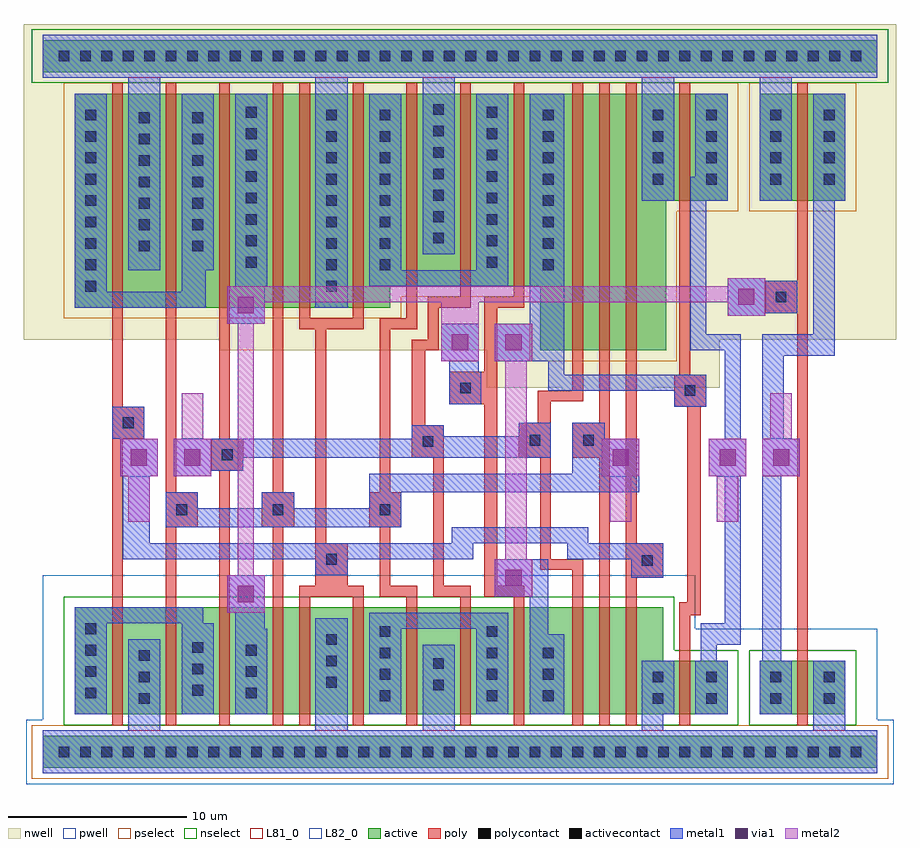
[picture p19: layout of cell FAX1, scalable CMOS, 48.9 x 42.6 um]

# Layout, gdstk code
import gdstk
lib = gdstk.Library(unit=1e-6, precision=1e-09)
def R(c, l, rs):  # rectangles x0, y0, x1, y1
    for r in rs: c.add(gdstk.rectangle(r[:2], r[2:], *l))
def A(c, l, x, y, w, h, nx, ny, dx, dy):  # array of equal rectangles
    R(c, l, [(x+i*dx, y+j*dy, x+i*dx+w, y+j*dy+h) for i in range(nx) for j in range(ny)])
pwell = (41, 0)
nwell = (42, 0)
active = (43, 0)
pselect = (44, 0)
nselect = (45, 0)
poly = (46, 0)
polycontact = (47, 0)
activecontact = (48, 0)
metal1 = (49, 0)
via1 = (50, 0)
metal2 = (51, 0)
L81_0 = (81, 0)
L82_0 = (82, 0)

fax1 = lib.new_cell('FAX1')
R(fax1, pwell, [(-1.8,-1.8,46.8,1.8), (-0.9,1.8,45.9,6.9), (-0.9,6.9,35.7,9.9)])
R(fax1, nwell, [(28.2,20.25,33.3,20.4), (24,20.4,37.05,22.5), (9,22.5,37.05,23.1), (-1.95,23.1,46.95,40.8)])
R(fax1, active, [(-0.9,-0.9,45.9,0.9), (0.9,2.1,37.5,5.1), (39.3,2.1,44.1,5.1), (0.9,5.1,33.9,8.1), (27,22.5,34.05,26.1), (0.9,24.9,18.6,26.1), (0.9,26.1,34.05,30.9), (0.9,30.9,37.5,36.9), (39.3,30.9,44.1,36.9), (-0.9,38.1,45.9,39.9)])
R(fax1, pselect, [(-1.5,-1.5,46.5,1.5), (26.4,21.9,34.65,25.5), (0.3,24.3,19.2,25.5), (0.3,25.5,34.65,30.3), (0.3,30.3,38.1,37.5), (38.7,30.3,44.7,37.5)])
R(fax1, nselect, [(0.3,1.5,38.1,5.7), (38.7,1.5,44.7,5.7), (0.3,5.7,34.5,8.7), (-1.5,37.5,46.5,40.5)])
A(fax1, poly, 13.5, 1.5, 0.6, 7.2, 5, 1, 3, 0)
A(fax1, poly, 13.5, 24.3, 0.6, 13.2, 3, 1, 3, 0)
R(fax1, poly, [(3,1.5,3.6,17.55), (6,1.5,6.6,12.6), (9,1.5,9.6,15.75), (12,1.5,12.6,12.6), (28.8,1.5,29.4,10.2), (30.3,1.5,30.9,16.5), (31.8,1.5,32.4,9.75), (34.8,1.5,35.4,7.65), (41.4,1.5,42,24.6), (34.8,7.65,36,8.4), (35.25,8.4,36,19.35), (13.5,8.7,17.1,9.3), (18,8.7,20.1,9.3), (21,8.7,23.1,9.3), (23.85,8.7,26.1,9.3), (14.4,9.3,16.2,11.7), (18,9.3,18.6,12.6), (21,9.3,21.6,16.5), (23.85,9.3,24.6,19.5), (31.8,9.75,33.9,11.7), (27,10.2,29.4,10.8), (27,10.8,27.6,16.5), (14.4,11.7,15,23.7), (31.8,11.7,32.4,37.5), (6,12.6,7.8,14.55), (11.4,12.6,13.2,14.55), (17.4,12.6,19.2,14.55), (6,14.55,6.6,37.5), (12,14.55,12.6,37.5), (18,14.55,18.6,23.7), (8.55,15.75,10.35,17.55), (19.8,16.5,21.6,18.3), (25.8,16.5,27.6,18.45), (28.8,16.5,30.9,18.45), (3,17.55,4.8,19.35), (9,17.55,9.6,37.5), (19.8,18.3,20.55,22.5), (26.85,18.45,27.6,19.65), (30.3,18.45,30.9,37.5), (3,19.35,3.6,37.5), (34.5,19.35,36.3,21.15), (21.9,19.5,24.6,21.3), (26.85,19.65,29.4,20.25), (28.8,20.25,29.4,37.5), (34.8,21.15,35.4,37.5), (23.85,21.3,24.6,24.9), (19.8,22.5,21.3,23.1), (20.7,23.1,21.3,24.9), (13.5,23.7,17.1,24.3), (18,23.7,20.1,24.3), (39.6,24.6,42,26.4), (20.7,24.9,23.1,25.5), (23.85,24.9,26.1,25.5), (22.5,25.5,23.1,37.5), (25.5,25.5,26.1,37.5), (41.4,26.4,42,37.5)])
R(fax1, polycontact, [(32.7,10.42,33.3,11.02), (15,10.5,15.6,11.1), (6.6,13.27,7.2,13.87), (12,13.27,12.6,13.87), (18,13.27,18.6,13.87), (9.15,16.35,9.75,16.95), (20.4,17.1,21,17.7), (26.4,17.17,27,17.77), (29.4,17.17,30,17.77), (3.6,18.15,4.2,18.75), (35.1,19.95,35.7,20.55), (22.5,20.1,23.1,20.7), (40.2,25.2,40.8,25.8)])
A(fax1, activecontact, 0, -0.3, 0.6, 0.6, 38, 2, 1.2, 39)
A(fax1, activecontact, 4.5, 2.7, 0.6, 0.6, 1, 3, 0, 1.2)
A(fax1, activecontact, 18, 2.85, 0.6, 0.6, 1, 4, 0, 1.2)
A(fax1, activecontact, 24, 2.85, 0.6, 0.6, 1, 4, 0, 1.2)
A(fax1, activecontact, 27.15, 2.85, 0.6, 0.6, 1, 3, 0, 1.2)
A(fax1, activecontact, 1.5, 3, 0.6, 0.6, 1, 4, 0, 1.2)
A(fax1, activecontact, 10.5, 3, 0.6, 0.6, 1, 3, 0, 1.2)
A(fax1, activecontact, 7.5, 3.15, 0.6, 0.6, 1, 3, 0, 1.2)
A(fax1, activecontact, 15, 3.6, 0.6, 0.6, 1, 3, 0, 1.2)
A(fax1, activecontact, 1.5, 25.8, 0.6, 0.6, 1, 9, 0, 1.2)
A(fax1, activecontact, 15, 25.8, 0.6, 0.6, 1, 9, 0, 1.2)
A(fax1, activecontact, 18, 27, 0.6, 0.6, 1, 8, 0, 1.2)
A(fax1, activecontact, 27.15, 27, 0.6, 0.6, 1, 8, 0, 1.2)
A(fax1, activecontact, 10.5, 27.15, 0.6, 0.6, 1, 8, 0, 1.2)
A(fax1, activecontact, 24, 27.15, 0.6, 0.6, 1, 8, 0, 1.2)
A(fax1, activecontact, 4.5, 28.05, 0.6, 0.6, 1, 7, 0, 1.2)
A(fax1, activecontact, 7.5, 28.05, 0.6, 0.6, 1, 7, 0, 1.2)
A(fax1, activecontact, 21, 28.5, 0.6, 0.6, 1, 7, 0, 1.2)
A(fax1, activecontact, 33.3, 31.8, 0.6, 0.6, 1, 4, 0, 1.2)
A(fax1, activecontact, 36.3, 31.8, 0.6, 0.6, 1, 4, 0, 1.2)
A(fax1, activecontact, 39.9, 31.8, 0.6, 0.6, 1, 4, 0, 1.2)
A(fax1, activecontact, 42.9, 31.8, 0.6, 0.6, 1, 4, 0, 1.2)
R(fax1, activecontact, [(33.3,2.7,33.9,3.3), (36.3,2.7,36.9,3.3), (39.9,2.7,40.5,3.3), (42.9,2.7,43.5,3.3), (21,3.45,21.6,4.05), (33.3,3.9,33.9,4.5), (36.3,3.9,36.9,4.5), (39.9,3.9,40.5,4.5), (42.9,3.9,43.5,4.5), (21,4.65,21.6,5.25)])
R(fax1, metal1, [(-0.9,-1.2,45.9,1.2), (3.9,1.2,5.7,6.3), (14.4,1.2,16.2,7.5), (20.4,1.2,22.2,6), (32.7,1.2,33.9,2.1), (42.3,1.2,44.1,5.1), (0.9,2.1,2.7,7.2), (6.9,2.1,8.7,7.2), (9.9,2.1,11.7,6.9), (17.4,2.1,19.2,6.9), (23.4,2.1,25.2,6.9), (26.4,2.1,28.35,6.6), (32.7,2.1,34.5,5.1), (35.7,2.1,37.5,5.1), (39.3,2.1,41.1,5.1), (36,5.1,36.9,6), (39.45,5.1,40.5,15.45), (36,6,38.25,7.2), (26.4,6.6,27.45,8.7), (9.9,6.9,11.55,7.8), (17.4,6.9,25.2,7.8), (0.9,7.2,8.1,8.1), (37.35,7.2,38.25,15.45), (9.45,7.8,11.55,9.9), (24.45,8.7,27.45,10.8), (32.1,9.75,33.9,10.8), (14.4,9.9,16.2,10.8), (3.6,10.8,23.25,11.7), (28.5,10.8,33.9,11.7), (3.6,11.7,5.1,15.45), (22.05,11.7,29.7,12.6), (6,12.6,19.2,13.65), (6,13.65,7.8,14.55), (11.4,13.65,13.2,14.55), (17.4,13.65,19.2,14.55), (17.4,14.55,32.55,15.6), (3.45,15.45,5.55,17.55), (6.45,15.45,8.55,15.75), (36.45,15.45,38.55,17.55), (39.45,15.45,41.55,17.55), (28.8,15.6,32.55,17.55), (6.45,15.75,10.35,16.5), (6.45,16.5,27.6,17.55), (3,17.55,4.8,19.35), (19.8,17.55,27.6,17.7), (28.8,17.55,30.6,18.45), (37.35,17.55,38.25,22.5), (39.45,17.55,40.65,22.2), (19.8,17.7,21.6,18.3), (25.8,17.7,27.6,18.45), (34.5,19.35,36.3,20.25), (21.9,19.5,23.7,21.3), (27.45,20.25,36.3,21.15), (27.45,21.15,28.35,21.9), (21.9,21.3,23.55,21.9), (21.45,21.9,23.55,24), (24.45,21.9,28.35,24), (39.45,22.2,43.5,23.4), (35.4,22.5,38.25,23.4), (35.4,23.4,36.3,30.9), (42.3,23.4,43.5,30.9), (9.45,24,11.55,26.1), (26.4,24,28.35,36.9), (37.5,24.45,39.6,24.6), (37.5,24.6,41.4,26.4), (0.9,24.9,8.25,25.8), (14.4,24.9,16.2,37.8), (0.9,25.8,2.7,36.9), (6.9,25.8,8.25,27), (9.9,26.1,11.7,36.9), (17.4,26.1,25.2,27), (37.5,26.4,39.6,26.55), (3.9,27,5.7,37.8), (6.9,27,8.7,36.9), (17.4,27,19.2,36.9), (23.4,27,25.2,36.9), (20.4,27.9,22.2,37.8), (32.7,30.9,34.5,37.8), (35.4,30.9,37.5,32.25), (39.3,30.9,41.1,37.8), (42.3,30.9,44.1,36.9), (35.7,32.25,37.5,36.9), (-0.9,37.8,45.9,40.2)])
R(fax1, via1, [(10.05,8.4,10.95,9.3), (25.05,9.3,25.95,10.2), (4.05,16.05,4.95,16.95), (7.05,16.05,7.95,16.95), (31.05,16.05,31.95,16.95), (37.05,16.05,37.95,16.95), (40.05,16.05,40.95,16.95), (22.05,22.5,22.95,23.4), (25.05,22.5,25.95,23.4), (10.05,24.6,10.95,25.5), (38.1,25.05,39,25.95)])
R(fax1, metal2, [(9.45,7.8,11.55,9.9), (24.45,8.7,26.55,10.8), (10.05,9.9,10.95,24), (25.05,10.8,26.25,21.9), (3.9,12.9,5.1,15.45), (30.9,12.9,32.1,15.45), (36.9,12.9,38.1,15.45), (3.45,15.45,5.55,17.55), (6.45,15.45,8.55,17.55), (30.45,15.45,32.55,17.55), (36.45,15.45,38.55,17.55), (39.45,15.45,41.55,17.55), (6.9,17.55,8.1,20.1), (39.9,17.55,41.1,20.1), (21.45,21.9,23.55,25.2), (24.45,21.9,26.55,24), (9.45,24,11.55,25.2), (37.5,24.45,39.6,25.2), (9.45,25.2,39.6,26.1), (37.5,26.1,39.6,26.55)])
R(fax1, L81_0, [(-0.9,-1.2,45.9,1.2), (-0.9,37.8,45.9,40.2)])
R(fax1, L82_0, [(3.9,12.9,5.1,15.45), (30.9,12.9,32.1,15.45), (36.9,12.9,38.1,15.45), (6.9,17.55,8.1,20.1), (39.9,17.55,41.1,20.1)])

lib.write_gds('FAX1.gds')
